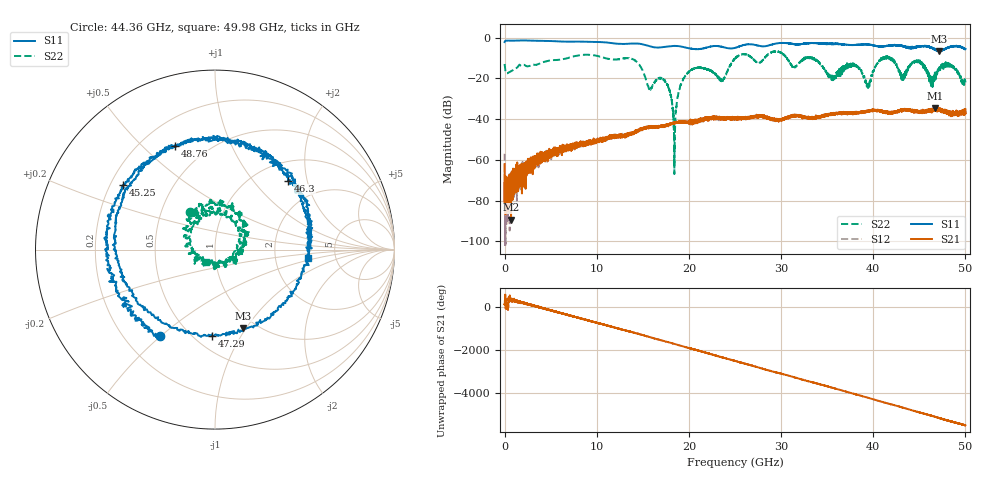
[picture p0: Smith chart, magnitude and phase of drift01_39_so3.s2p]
!Created with skrf (http://scikit-rf.org).
# Hz S RI R 50.0
!freq ReS11 ImS11 ReS21 ImS21 ReS12 ImS12 ReS22 ImS22
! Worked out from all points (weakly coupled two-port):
!   10001 points, 300 kHz to 50 GHz, reference 50 ohm
!   highest |S21| = -34.49 dB at 46.75 GHz (marker M1); lowest = -89.4 dB at 700.3 MHz (marker M2)
!   lowest |S11| = -6.7 dB at 47.15 GHz (marker M3), VSWR 2.73, Z = 43.7 - j48.5 ohm
!   |S11| at or under -10 dB: nowhere
!   |S22| runs from -67.0 to -6.6 dB; largest |S21 - S12| = 0.0035
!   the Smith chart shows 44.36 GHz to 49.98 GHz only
!   S11 on the Smith chart (normalised r, x): 44.36 GHz: 0.35, -0.50; 45.25 GHz: 0.25, +0.30; 46.3 GHz: 1.38, +1.53; 47.29 GHz: 0.61, -0.76; 48.76 GHz: 0.34, +0.63; 49.98 GHz: 3.10, -0.39
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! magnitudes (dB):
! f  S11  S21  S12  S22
! 300 kHz  -2.1  -62.1  -57.0  -12.9
! 700.3 MHz  -1.5  -89.4  -71.5  -16.4
! 8.335 GHz  -1.9  -51.8  -52.0  -8.5
! 16.67 GHz  -4.8  -43.6  -43.8  -19.9
! 17.74 GHz  -4.3  -42.9  -42.9  -23.8
! 18.44 GHz  -4.1  -41.5  -41.6  -53.2
! 19.91 GHz  -5.1  -41.5  -41.8  -17.1
! 23.6 GHz  -4.5  -39.6  -39.5  -20.6
! 25 GHz  -5.0  -39.8  -39.4  -10.4
! 33.34 GHz  -2.6  -39.3  -39.6  -10.0
! 39.46 GHz  -3.3  -35.9  -35.6  -23.3
! 41.67 GHz  -3.9  -37.2  -36.9  -10.0
! 43.19 GHz  -4.2  -35.9  -35.9  -19.5
! 44.36 GHz  -4.9  -36.1  -36.3  -12.0
! 45.25 GHz  -4.1  -36.4  -36.1  -12.1
! 46.3 GHz  -5.1  -35.0  -35.4  -22.6
! 46.75 GHz  -5.9  -34.5  -35.3  -18.7
! 47.15 GHz  -6.7  -35.7  -35.5  -15.4
! 47.29 GHz  -6.4  -35.8  -35.3  -15.7
! 48.76 GHz  -4.2  -37.8  -37.2  -15.0
! 49.98 GHz  -5.7  -36.6  -35.7  -21.7
! 50 GHz  -5.6  -35.2  -36.6  -22.0
